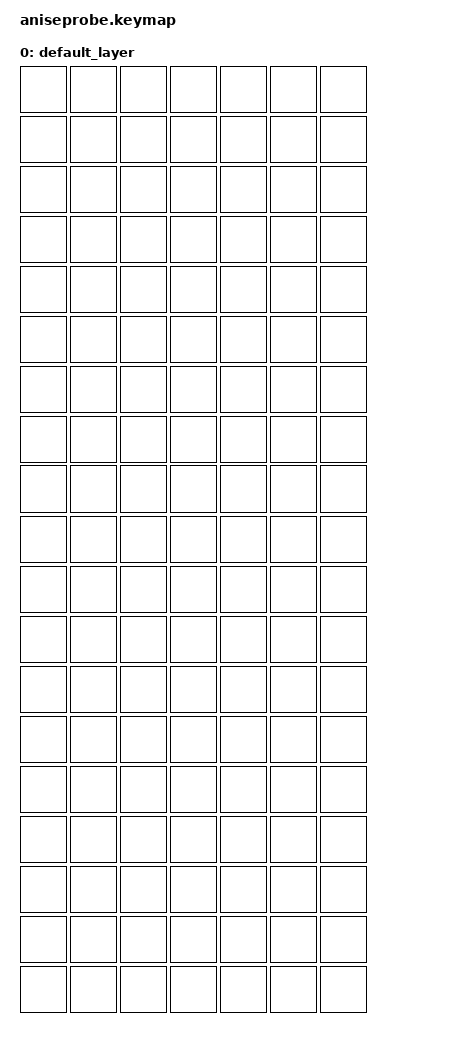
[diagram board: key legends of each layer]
#include <behaviors.dtsi>
#include <dt-bindings/zmk/keys.h>

/* All positions are &none on purpose: the kscan driver still logs every press,
 * but nothing is typed into the terminal you are reading the log in. */

/ {
    keymap {
        compatible = "zmk,keymap";

        default_layer {
            bindings = <
    &none &none &none &none &none &none &none
    &none &none &none &none &none &none &none
    &none &none &none &none &none &none &none
    &none &none &none &none &none &none &none
    &none &none &none &none &none &none &none
    &none &none &none &none &none &none &none
    &none &none &none &none &none &none &none
    &none &none &none &none &none &none &none
    &none &none &none &none &none &none &none
    &none &none &none &none &none &none &none
    &none &none &none &none &none &none &none
    &none &none &none &none &none &none &none
    &none &none &none &none &none &none &none
    &none &none &none &none &none &none &none
    &none &none &none &none &none &none &none
    &none &none &none &none &none &none &none
    &none &none &none &none &none &none &none
    &none &none &none &none &none &none &none
    &none &none &none &none &none &none &none
            >;
        };
    };
};
